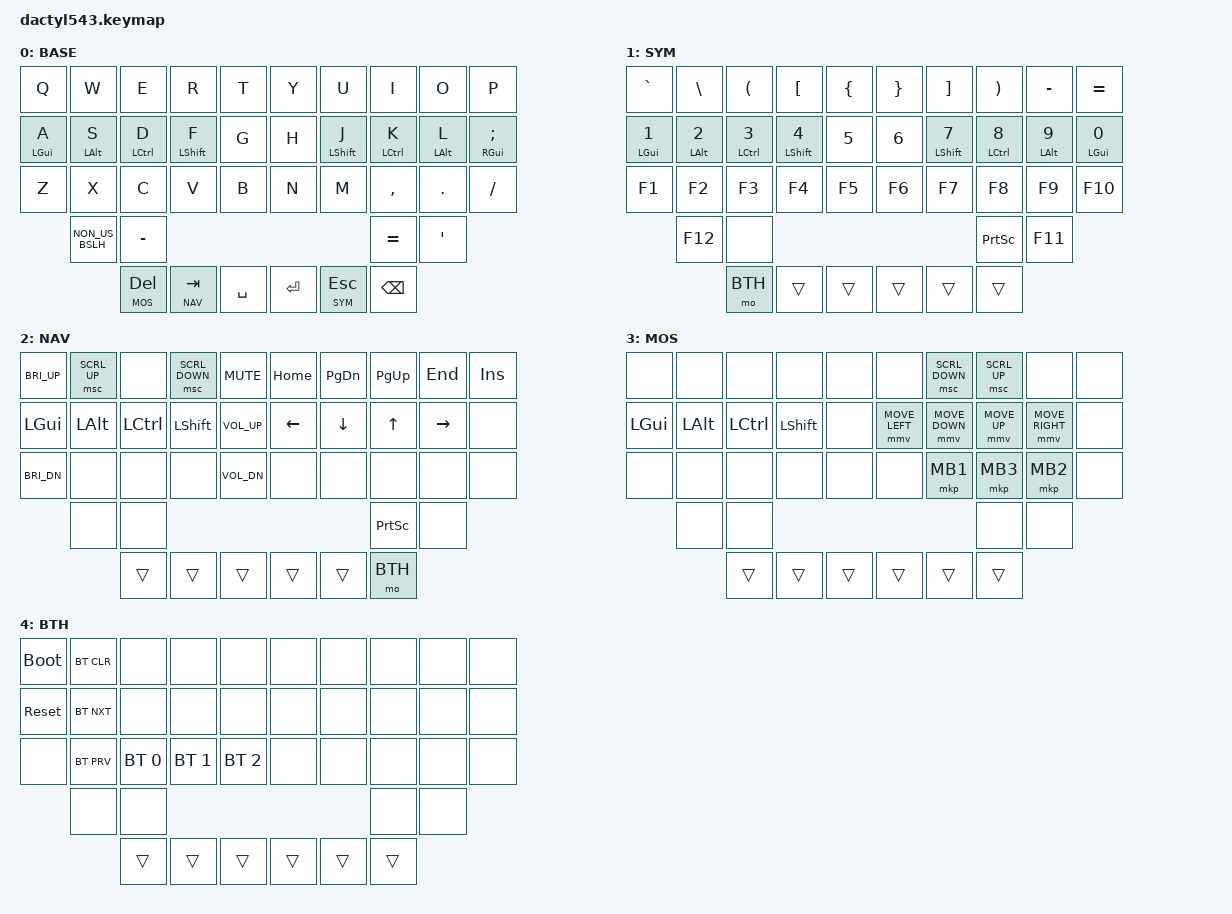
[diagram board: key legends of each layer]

#define ZMK_POINTING_DEFAULT_MOVE_VAL 1000  // default: 600
#define ZMK_POINTING_DEFAULT_SCRL_VAL 20    // default: 10

#include <behaviors.dtsi>
#include <dt-bindings/zmk/keys.h>
#include <dt-bindings/zmk/bt.h>
#include <dt-bindings/zmk/outputs.h>
#include <dt-bindings/zmk/pointing.h>

#define BASE 0
#define SYM  1
#define NAV  2
#define MOS  3
#define BTH  4


&mmv {
    time-to-max-speed-ms = <200>;
    acceleration-exponent = <2>;
};

&msc {
    time-to-max-speed-ms = <200>;
    acceleration-exponent = <2>;
};

&mt {
  quick-tap-ms = <100>;
  global-quick-tap;
  flavor = "tap-preferred";
  tapping-term-ms = <200>;
};

/ {
     combos {
            compatible = "zmk,combos";
            combo_esc {
                timeout-ms = <50>;
                key-positions = <0 1>;
                bindings = <&kp ESC>;
            };
    };

        keymap {
                compatible = "zmk,keymap";

                base_layer {
label= "BASE";
//   +--------------+--------------+--------------+--------------+--------------+  +--------------+--------------+--------------+--------------+--------------+
//   |      Q       |      W       |       E      |       R      |       T      |  |      Y       |      U       |      I       |      O       |      P       |
//   +--------------+--------------+--------------+--------------+--------------+  +--------------+--------------+--------------+--------------+--------------+
//   |      A       |      S       |       D      |       F      |       G      |  |      H       |      J       |      K       |      L       |      ;       |
//   +--------------+--------------+--------------+--------------+--------------+  +--------------+--------------+--------------+--------------+--------------+
//   |      Z       |      X       |       C      |       V      |       B      |  |      N       |      M       |      ,       |      .       |      /       |
//   +--------------+--------------+--------------+--------------+--------------+  +--------------+--------------+--------------+--------------+--------------+
//                  |      \       |       -      |                                                              |      =       |      '       |
//                  +--------------+--------------+                                                              +--------------+--------------+
//
//                                 +--------------+--------------+--------------+  +--------------+--------------+--------------+
//                                 |     DEL      |      TAB     |      SPC     |  |     RET      |     ESC      |    BSPC      |
//                                 +--------------+--------------+--------------+  +--------------+--------------+--------------+

 bindings = <
//   |              |              |              |              |              |  |              |              |              |              |              |
      &kp Q          &kp W          &kp E          &kp R          &kp T             &kp Y          &kp U          &kp I          &kp O          &kp P
      &mt LGUI A     &mt LALT S     &mt LCTRL D    &mt LSHFT F    &kp G             &kp H          &mt LSHFT J    &mt LCTRL K    &mt LALT L     &mt RGUI SEMI
      &kp Z          &kp X          &kp C          &kp V          &kp B             &kp N          &kp M          &kp COMMA      &kp DOT        &kp FSLH
                     &kp NON_US_BSLH &kp MINUS                                                                    &kp EQUAL      &kp APOS

                                    &lt MOS DEL    &lt NAV TAB    &kp SPACE         &kp RET        &lt SYM ESC    &kp BSPC
                        >;
                };



                sim_layer {
label= "SYM";
//   +--------------+--------------+--------------+--------------+--------------+  +--------------+--------------+--------------+--------------+--------------+
//   |      `       |       \      |       (      |       [      |      {       |  |      }       |      ]       |       )      |      -       |      =       |
//   +--------------+--------------+--------------+--------------+--------------+  +--------------+--------------+--------------+--------------+--------------+
//   |      1       |       2      |       3      |       4      |      5       |  |      6       |      7       |       8      |      9       |      0       |
//   +--------------+--------------+--------------+--------------+--------------+  +--------------+--------------+--------------+--------------+--------------+
//   |     F1       |      F2      |      F3      |      F4      |     F5       |  |     F6       |     F7       |      F8      |     F9       |     F10      |
//   +--------------+--------------+--------------+--------------+--------------+  +--------------+--------------+--------------+--------------+--------------+
//                  |      F12     |              |                                                              |              |     F12      |
//                  +--------------+--------------+                                                              +--------------+--------------+
//
//                                 +--------------+--------------+--------------+  +--------------+--------------+--------------+
//                                 |    BTH       |              |              |  |              |              |              |
//                                 +--------------+--------------+--------------+  +--------------+--------------+--------------+
//                                                |              |              |  |              |              |
//                                                +--------------+--------------+  +--------------+--------------+
 bindings = <
//   |              |              |              |              |              |  |              |              |              |              |              |
      &kp GRAVE      &kp BSLH       &kp LPAR       &kp LBKT       &kp LBRC          &kp RBRC       &kp RBKT       &kp RPAR       &kp MINUS      &kp EQUAL
      &mt LGUI N1    &mt LALT N2    &mt LCTRL N3   &mt LSHFT N4   &kp N5            &kp N6         &mt LSHFT N7   &mt LCTRL N8   &mt LALT N9    &mt LGUI N0
      &kp F1         &kp F2         &kp F3         &kp F4         &kp F5            &kp F6         &kp F7         &kp F8         &kp F9         &kp F10
                     &kp F12        &none                                                                         &kp PSCRN      &kp F11

                                    &mo BTH        &trans         &trans            &trans         &trans         &trans
                        >;
                };


                nav_layer {
label= "NAV";
//   +--------------+--------------+--------------+--------------+--------------+  +--------------+--------------+--------------+--------------+--------------+
//   |   BR UP      |   SCRL UP    |  MOUSE UP    |   SCRL UP    |   MUTE       |  |    HOME      |   PG DN      |     PG UP    |    END       |     INS      |
//   +--------------+--------------+--------------+--------------+--------------+  +--------------+--------------+--------------+--------------+--------------+
//   |   LGUI       |   LALT       |   LCTRL      |    LSHIFT    |   VOL UP     |  |    LEFT      |    DOWN      |      UP      |   RIGHT      |     DEL      |
//   +--------------+--------------+--------------+--------------+--------------+  +--------------+--------------+--------------+--------------+--------------+
//   |   BR DN      |              |              |              |   VOL DN     |  |              |              |              |              |              |
//   +--------------+--------------+--------------+--------------+--------------+  +--------------+--------------+--------------+--------------+--------------+
//                  |              |              |                                                              |              |              |
//                  +--------------+--------------+                                                              +--------------+--------------+
//
//                                 +--------------+--------------+--------------+  +--------------+--------------+--------------+
//                                 |              |              |              |  |              |              |              |
//                                 +--------------+--------------+--------------+  +--------------+--------------+--------------+
 bindings = <
//   |              |              |              |              |              |  |              |              |              |              |              |
      &kp C_BRI_UP   &msc SCRL_UP   &none          &msc SCRL_DOWN &kp C_MUTE        &kp HOME       &kp PG_DN      &kp PG_UP      &kp END        &kp INS
      &kp LGUI       &kp LALT       &kp LCTRL      &kp LSHFT      &kp C_VOL_UP      &kp LEFT       &kp DOWN       &kp UP         &kp RIGHT      &none
      &kp C_BRI_DN   &none          &none          &none          &kp C_VOL_DN      &none          &none          &none          &none          &none
                     &none          &none                                                                         &kp PSCRN      &none

                                    &trans         &trans         &trans            &trans         &trans         &mo BTH
                        >;
                };


                mos_layer {
label= "MOS";
//   +--------------+--------------+--------------+--------------+--------------+  +--------------+--------------+--------------+--------------+--------------+
//   |   BR UP      |   SCRL UP    |  MOUSE UP    |   SCRL UP    |   MUTE       |  |    HOME      |   PG DN      |     PG UP    |    END       |     INS      |
//   +--------------+--------------+--------------+--------------+--------------+  +--------------+--------------+--------------+--------------+--------------+
//   |   BR DN      |  MOUSE LEFT  |  MOUSE DN    |  MOUSE RIGHT |   VOL UP     |  |    LEFT      |    DOWN      |      UP      |   RIGHT      |     DEL      |
//   +--------------+--------------+--------------+--------------+--------------+  +--------------+--------------+--------------+--------------+--------------+
//   |   LGUI       |   LALT       |   LCTRL      |    LSHIFT    |   VOL DN     |  |              |  LSHIFT      |   RCTRL      |   RALT       |    RGUI      |
//   +--------------+--------------+--------------+--------------+--------------+  +--------------+--------------+--------------+--------------+--------------+
//                  |              |              |                                                              |              |              |
//                  +--------------+--------------+                                                              +--------------+--------------+
//
//                                 +--------------+--------------+--------------+  +--------------+--------------+--------------+
//                                 |              |              |              |  |              |              |              |
//                                 +--------------+--------------+--------------+  +--------------+--------------+--------------+
 bindings = <
//   |              |              |              |              |              |  |              |              |              |              |              |
      &none          &none          &none          &none          &none             &none          &msc SCRL_DOWN &msc SCRL_UP   &none          &none
      &kp LGUI       &kp LALT       &kp LCTRL      &kp LSHFT      &none             &mmv MOVE_LEFT &mmv MOVE_DOWN &mmv MOVE_UP   &mmv MOVE_RIGHT &none
      &none          &none          &none          &none          &none             &none          &mkp MB1       &mkp MB3       &mkp MB2       &none
                     &none          &none                                                                         &none          &none

                                    &trans         &trans         &trans            &trans         &trans       &trans
                        >;
                };


                bth_layer {
label= "BTH";
//   +--------------+--------------+--------------+--------------+--------------+  +--------------+--------------+--------------+--------------+--------------+
//   | BOOTLOAD     |  BT CLEAR    |              |              |              |  |              |              |              |              |              |
//   +--------------+--------------+--------------+--------------+--------------+  +--------------+--------------+--------------+--------------+--------------+
//   | RESET        |  BT NEXT     |              |              |              |  |              |              |              |              |              |
//   +--------------+--------------+--------------+--------------+--------------+  +--------------+--------------+--------------+--------------+--------------+
//   |              |  BT PREV     |     BT 1     |     BT 2     |     BT 3     |  |              |              |              |              |              |
//   +--------------+--------------+--------------+--------------+--------------+  +--------------+--------------+--------------+--------------+--------------+
//                  |              |              |                                                              |              |              |
//                  +--------------+--------------+                                                              +--------------+--------------+
//
//                                 +--------------+--------------+--------------+  +--------------+--------------+--------------+
//                                 |              |              |              |  |              |              |              |
//                                 +--------------+--------------+--------------+  +--------------+--------------+--------------+
 bindings = <
//   |              |              |              |              |              |  |              |              |              |              |              |
      &bootloader    &bt BT_CLR     &none          &none          &none             &none          &none          &none          &none          &none
      &sys_reset     &bt BT_NXT     &none          &none          &none             &none          &none          &none          &none          &none
      &none          &bt BT_PRV     &bt BT_SEL 0   &bt BT_SEL 1   &bt BT_SEL 2      &none          &none          &none          &none          &none
                     &none          &none                                                                         &none          &none

                                    &trans         &trans         &trans            &trans         &trans         &trans
                        >;
                };

        };
};

//   +--------------+--------------+--------------+--------------+--------------+  +--------------+--------------+--------------+--------------+--------------+
//   |              |              |              |              |              |  |              |              |              |              |              |
//   +--------------+--------------+--------------+--------------+--------------+  +--------------+--------------+--------------+--------------+--------------+
//   |              |              |              |              |              |  |              |              |              |              |              |
//   +--------------+--------------+--------------+--------------+--------------+  +--------------+--------------+--------------+--------------+--------------+
//   |              |              |              |              |              |  |              |              |              |              |              |
//   +--------------+--------------+--------------+--------------+--------------+  +--------------+--------------+--------------+--------------+--------------+
//                  |              |              |                                                              |              |              |
//                  +--------------+--------------+                                                              +--------------+--------------+
//
//                                 +--------------+--------------+--------------+  +--------------+--------------+--------------+
//                                 |              |              |              |  |              |              |              |
//                                 +--------------+--------------+--------------+  +--------------+--------------+--------------+
